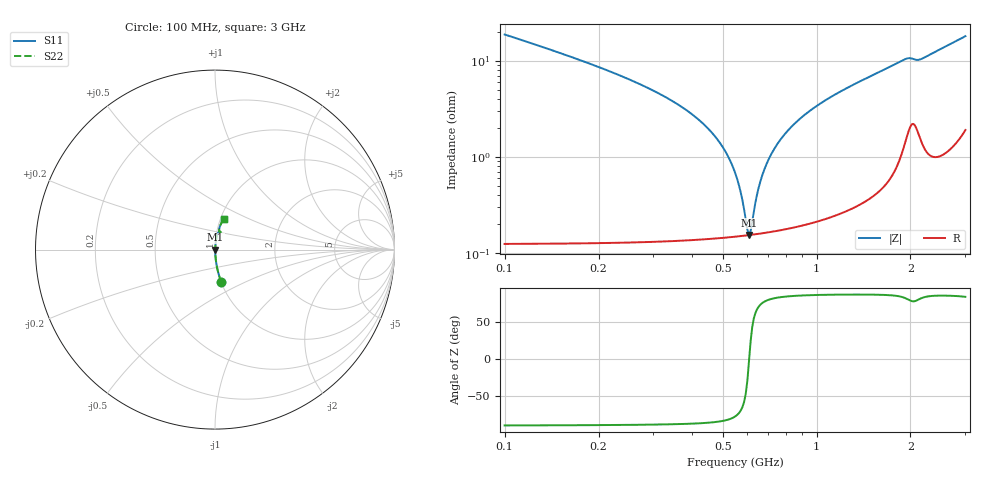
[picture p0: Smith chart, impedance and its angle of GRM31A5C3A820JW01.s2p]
!Murata Part Number: GRM31A5C3A820JW01
!These Parameters are Measured in Series Mode Connection
!Data Generated on Mar 30, 2021
!  o--ll--o
!Port1  Port2
!  o------o
!Operation Temp=25[degC], DC Bias Voltage=0[V]
!Freq. Start=100[MHz] Stop=3[GHz] 401[Steps]
# Hz S RI R 50
!Freq.(Hz) S11(Real) S11(Imag) S21(Real) S21(Imag) S12(Real) S12(Imag) S22(Real) S22(Imag)
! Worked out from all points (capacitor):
!   401 points, 100 MHz to 3 GHz, reference 50 ohm
!   read as one part in series: C = 82 pF near 114.5 MHz
!   lowest |Z| = 154 mohm at 607.5 MHz (marker M1)
!   series resonance near 608.1 MHz, so ESL is about 840 pH
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1e8  0.0356 -0.1819  0.9644 0.1819  0.9644 0.1819  0.0356 -0.1819
2.2325e8  0.00689 -0.0747  0.9931 0.0747  0.9931 0.0747  0.00689 -0.0747
3.9e8  0.00222 -0.0293  0.9978 0.0293  0.9978 0.0293  0.00222 -0.0293
4.6975e8  0.00169 -0.0167  0.9983 0.0167  0.9983 0.0167  0.00169 -0.0167
5.4225e8  0.00153 -0.00736  0.9985 0.00736  0.9985 0.00736  0.00153 -0.00736
5.64e8  0.00152 -0.00483  0.9985 0.00483  0.9985 0.00483  0.00152 -0.00483
5.8575e8  0.00152 -0.00241  0.9985 0.00241  0.9985 0.00241  0.00152 -0.00241
6.0025e8  0.00153 -0.000837  0.9985 0.000837  0.9985 0.000837  0.00153 -0.000837
6.075e8  0.00153 -6.68e-05  0.9985 6.68e-05  0.9985 6.68e-05  0.00153 -6.68e-05
6.22e8  0.00155 0.00145  0.9984 -0.00145  0.9984 -0.00145  0.00155 0.00145
6.51e8  0.0016 0.00438  0.9984 -0.00438  0.9984 -0.00438  0.0016 0.00438
6.7275e8  0.00165 0.0065  0.9984 -0.0065  0.9984 -0.0065  0.00165 0.0065
7.0175e8  0.00173 0.00925  0.9983 -0.00925  0.9983 -0.00925  0.00173 0.00925
7.4525e8  0.00187 0.0132  0.9981 -0.0132  0.9981 -0.0132  0.00187 0.0132
8.7575e8  0.00247 0.0241  0.9975 -0.0241  0.9975 -0.0241  0.00247 0.0241
1.0715e9  0.00379 0.039  0.9962 -0.039  0.9962 -0.039  0.00379 0.039
1.55e9  0.00944 0.0728  0.9906 -0.0728  0.9906 -0.0728  0.00944 0.0728
1.90525e9  0.0226 0.0989  0.9774 -0.0989  0.9774 -0.0989  0.0226 0.0989
2.03575e9  0.0314 0.0975  0.9686 -0.0975  0.9686 -0.0975  0.0314 0.0975
2.1445e9  0.0255 0.0983  0.9745 -0.0983  0.9745 -0.0983  0.0255 0.0983
2.5215e9  0.0276 0.1298  0.9724 -0.1298  0.9724 -0.1298  0.0276 0.1298
3e9  0.0486 0.1684  0.9514 -0.1684  0.9514 -0.1684  0.0486 0.1684
